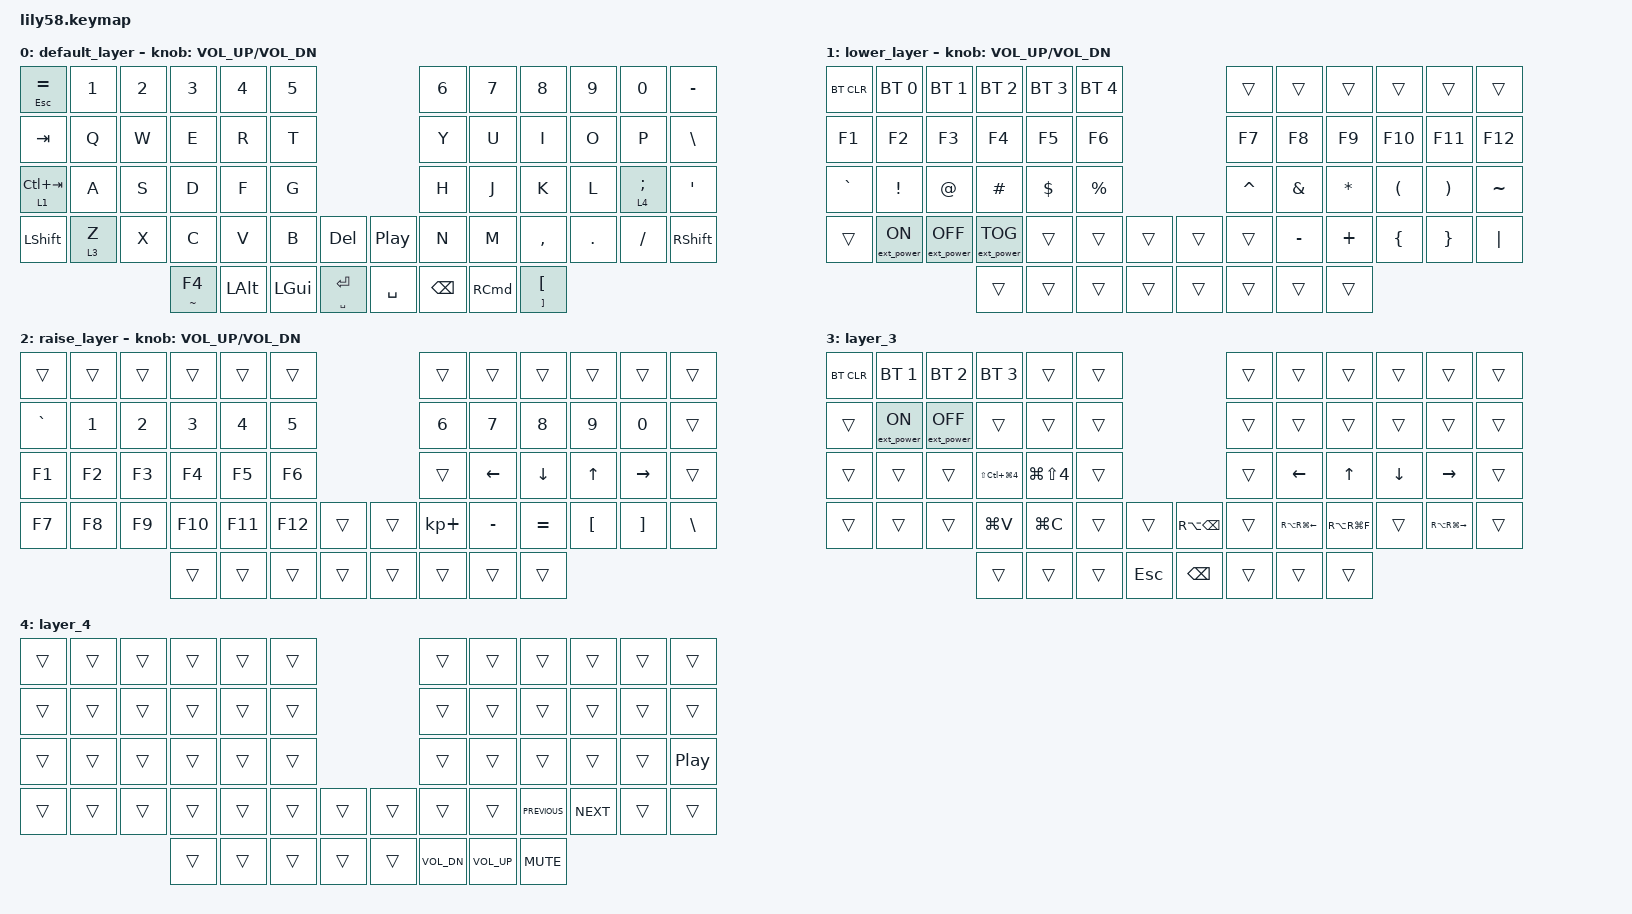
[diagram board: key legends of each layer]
/*
 * Copyright (c) 2020 The ZMK Contributors
 *
 * SPDX-License-Identifier: MIT
 */

#include <behaviors.dtsi>
#include <dt-bindings/zmk/bt.h>
#include <dt-bindings/zmk/ext_power.h>
#include <dt-bindings/zmk/keys.h>

/ {
    combos {
        compatible = "zmk,combos";

        cmd+z {
            bindings = <&kp LG(Z)>;
            key-positions = <37 38>;
        };

        cmd+c {
            bindings = <&kp LG(C)>;
            key-positions = <38 39>;
        };

        cmd+v {
            bindings = <&kp LG(V)>;
            key-positions = <40 39>;
        };

        up {
            bindings = <&kp UP_ARROW>;
            key-positions = <32 33>;
        };

        down {
            bindings = <&kp DOWN_ARROW>;
            key-positions = <47 46>;
        };

        left {
            bindings = <&kp LEFT>;
            key-positions = <31 32>;
        };

        right {
            bindings = <&kp RIGHT>;
            key-positions = <34 33>;
        };
    };

    keymap {
        compatible = "zmk,keymap";

        default_layer {
            // ------------------------------------------------------------------------------------------------------------
            // |  ESC  |  1  |  2  |  3   |  4   |  5   |                   |  6   |  7    |  8    |  9   |   0   |   `   |
            // |  TAB  |  Q  |  W  |  E   |  R   |  T   |                   |  Y   |  U    |  I    |  O   |   P   |   -   |
            // |  CTRL |  A  |  S  |  D   |  F   |  G   |                   |  H   |  J    |  K    |  L   |   ;   |   '   |
            // | SHIFT |  Z  |  X  |  C   |  V   |  B   |   "["  |  |  "]"  |  N   |  M    |  ,    |  .   |   /   | SHIFT |
            //                     | ALT  | GUI  | LOWER|  SPACE |  | ENTER | RAISE| BSPC  | GUI   |

            bindings = <
&mt ESC EQUAL  &kp N1   &kp N2  &kp N3        &kp N4        &kp N5                                             &kp N6         &kp N7             &kp N8                          &kp N9   &kp N0           &kp MINUS
&kp TAB        &kp Q    &kp W   &kp E         &kp R         &kp T                                              &kp Y          &kp U              &kp I                           &kp O    &kp P            &kp BSLH
&lt 1 LC(TAB)  &kp A    &kp S   &kp D         &kp F         &kp G                                              &kp H          &kp J              &kp K                           &kp L    &lt 4 SEMICOLON  &kp SQT
&kp LSHFT      &lt 3 Z  &kp X   &kp C         &kp V         &kp B         &kp DELETE         &kp C_PLAY_PAUSE  &kp N          &kp M              &kp COMMA                       &kp DOT  &kp FSLH         &kp RSHFT
                                &mt TILDE F4  &kp LEFT_ALT  &kp LEFT_GUI  &mt SPACE ENTER    &kp SPACE         &kp BACKSPACE  &kp RIGHT_COMMAND  &mt RIGHT_BRACKET LEFT_BRACKET
            >;

            sensor-bindings = <&inc_dec_kp C_VOL_UP C_VOL_DN>;
        };

        lower_layer {
            // ------------------------------------------------------------------------------------------------------------
            // | BTCLR | BT1 | BT2 |  BT3 |  BT4 |  BT5 |                   |      |       |       |      |       |       |
            // |  F1   |  F2 |  F3 |  F4  |  F5  |  F6  |                   |  F7  |  F8   |  F9   |  F10 |  F11  |  F12  |
            // |   `   |  !  |  @  |  #   |  $   |  %   |                   |  ^   |  &    |  *    |  (   |   )   |   ~   |
            // |       |     |     |      |      |      |        |  |       |      |  _    |  +    |  {   |   }   |  "|"  |
            //                     |      |      |      |        |  |       |      |       |       |

            bindings = <
&bt BT_CLR  &bt BT_SEL 0      &bt BT_SEL 1       &bt BT_SEL 2       &bt BT_SEL 3  &bt BT_SEL 4                    &trans     &trans     &trans     &trans    &trans    &trans
&kp F1      &kp F2            &kp F3             &kp F4             &kp F5        &kp F6                          &kp F7     &kp F8     &kp F9     &kp F10   &kp F11   &kp F12
&kp GRAVE   &kp EXCL          &kp AT             &kp HASH           &kp DOLLAR    &kp PRCNT                       &kp CARET  &kp AMPS   &kp ASTRK  &kp LPAR  &kp RPAR  &kp TILDE
&trans      &ext_power EP_ON  &ext_power EP_OFF  &ext_power EP_TOG  &trans        &trans        &trans    &trans  &trans     &kp MINUS  &kp PLUS   &kp LBRC  &kp RBRC  &kp PIPE
                                                 &trans             &trans        &trans        &trans    &trans  &trans     &trans     &trans
            >;

            sensor-bindings = <&inc_dec_kp C_VOL_UP C_VOL_DN>;
        };

        raise_layer {
            // ------------------------------------------------------------------------------------------------------------
            // |       |     |     |      |      |      |                   |      |       |       |      |       |       |
            // |   `   |  1  |  2  |  3   |  4   |  5   |                   |  6   |   7   |   8   |  9   |   0   |       |
            // |   F1  |  F2 |  F3 |  F4  |  F5  |  F6  |                   |      |   <-  |   v   |  ^   |  ->   |       |
            // |   F7  |  F8 |  F9 |  F10 |  F11 |  F12 |        |  |       |  +   |   -   |   =   |  [   |   ]   |   \   |
            //                     |      |      |      |        |  |       |      |       |       |

            bindings = <
&trans     &trans  &trans  &trans   &trans   &trans                     &trans       &trans     &trans     &trans    &trans     &trans
&kp GRAVE  &kp N1  &kp N2  &kp N3   &kp N4   &kp N5                     &kp N6       &kp N7     &kp N8     &kp N9    &kp N0     &trans
&kp F1     &kp F2  &kp F3  &kp F4   &kp F5   &kp F6                     &trans       &kp LEFT   &kp DOWN   &kp UP    &kp RIGHT  &trans
&kp F7     &kp F8  &kp F9  &kp F10  &kp F11  &kp F12  &trans    &trans  &kp KP_PLUS  &kp MINUS  &kp EQUAL  &kp LBKT  &kp RBKT   &kp BSLH
                           &trans   &trans   &trans   &trans    &trans  &trans       &trans     &trans
            >;

            sensor-bindings = <&inc_dec_kp C_VOL_UP C_VOL_DN>;
        };

        layer_3 {
            bindings = <
&bt BT_CLR  &bt BT_SEL 1      &bt BT_SEL 2       &bt BT_SEL 3              &trans                &trans                                   &trans  &trans                  &trans         &trans    &trans                   &trans
&trans      &ext_power EP_ON  &ext_power EP_OFF  &trans                    &trans                &trans                                   &trans  &trans                  &trans         &trans    &trans                   &trans
&trans      &trans            &trans             &kp LS(LC(LG(NUMBER_4)))  &kp LG(LS(NUMBER_4))  &trans                                   &trans  &kp LEFT                &kp UP_ARROW   &kp DOWN  &kp RIGHT                &trans
&trans      &trans            &trans             &kp LG(V)                 &kp LG(C)             &trans  &trans        &kp RA(BACKSPACE)  &trans  &kp RA(RG(LEFT_ARROW))  &kp RA(RG(F))  &trans    &kp RA(RG(RIGHT_ARROW))  &trans
                                                 &trans                    &trans                &trans  &kp ESCAPE    &kp BACKSPACE      &trans  &trans                  &trans
            >;
        };

        layer_4 {
            bindings = <
&trans  &trans  &trans  &trans  &trans  &trans                    &trans        &trans        &trans          &trans      &trans  &trans
&trans  &trans  &trans  &trans  &trans  &trans                    &trans        &trans        &trans          &trans      &trans  &trans
&trans  &trans  &trans  &trans  &trans  &trans                    &trans        &trans        &trans          &trans      &trans  &kp C_PLAY_PAUSE
&trans  &trans  &trans  &trans  &trans  &trans  &trans    &trans  &trans        &trans        &kp C_PREVIOUS  &kp C_NEXT  &trans  &trans
                        &trans  &trans  &trans  &trans    &trans  &kp C_VOL_DN  &kp C_VOL_UP  &kp K_MUTE
            >;
        };
    };
};
